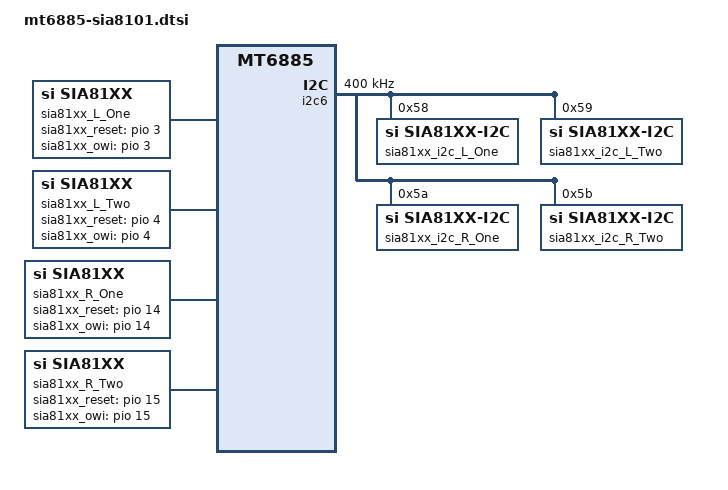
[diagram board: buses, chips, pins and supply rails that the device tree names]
/* Copyright (c) 2018, The Linux Foundation. All rights reserved.
 *
 * This program is free software; you can redistribute it and/or modify
 * it under the terms of the GNU General Public License version 2 and
 * only version 2 as published by the Free Software Foundation.
 *
 * This program is distributed in the hope that it will be useful,
 * but WITHOUT ANY WARRANTY; without even the implied warranty of
 * MERCHANTABILITY or FITNESS FOR A PARTICULAR PURPOSE.  See the
 * GNU General Public License for more details.
 */

&pio {
	sia81xx_gpio_L_ONE: sia81xx_gpio_L_ONE {
		pins_cmd_dat {
			pinmux = <PINMUX_GPIO3__FUNC_GPIO3>;
			
			slew-rate = <1>;
			bias-disable;
		};
	};
	
	sia81xx_gpio_L_TWO: sia81xx_gpio_L_TWO {
		pins_cmd_dat {
			pinmux = <PINMUX_GPIO4__FUNC_GPIO4>;
			
			slew-rate = <1>;
			bias-disable;
		};
	};
	
	sia81xx_gpio_R_ONE: sia81xx_gpio_R_ONE {
		pins_cmd_dat {
			pinmux = <PINMUX_GPIO14__FUNC_GPIO14>;
			
			slew-rate = <1>;
			bias-disable;
		};
	};

	sia81xx_gpio_R_TWO: sia81xx_gpio_R_TWO {
		pins_cmd_dat {
			pinmux = <PINMUX_GPIO15__FUNC_GPIO15>;
			
			slew-rate = <1>;
			bias-disable;
		};
	};	
};

/ {
	sia81xx_L_One: sia81xx@L_One {
		compatible = "si,sia81xx";
		si,sia81xx_type = "sia8101";
		si,sia81xx_reset = <&pio 3 0>;
		si,sia81xx_owi = <&pio 3 0>;
		pinctrl-names = "sia81xx_gpio";
		pinctrl-0 = <&sia81xx_gpio_L_ONE>;
		
		si,sia81xx_disable_pin = <0>;
		
		/* the same value share a same task
		 * valid value range : 0 ~ 7 */
		timer_task_hdl = <0>;
		
		channel_num = <0>;
		owi_mode = <6>;
		en_x_filter = <1>;
		en_dynamic_id = <0>;
		en_dynamic_updata_vdd = <0>;
		dynamic_updata_vdd_port = <0x2>;
	};
	
	sia81xx_L_Two: sia81xx@L_Two {
		compatible = "si,sia81xx";
		si,sia81xx_type = "sia8101";
		si,sia81xx_reset = <&pio 4 0>;
		si,sia81xx_owi = <&pio 4 0>;
		pinctrl-names = "sia81xx_gpio";
		pinctrl-0 = <&sia81xx_gpio_L_TWO>;
		
		si,sia81xx_disable_pin = <0>;
		
		/* the same value share a same task
		 * valid value range : 0 ~ 7 */
		timer_task_hdl = <0>;
		
		channel_num = <1>;
		owi_mode = <6>;
		en_x_filter = <1>;
		en_dynamic_id = <0>;
		en_dynamic_updata_vdd = <0>;
		dynamic_updata_vdd_port = <0x2>;
	};	
	
	sia81xx_R_One: sia81xx@R_One {
		compatible = "si,sia81xx";
		si,sia81xx_type = "sia8101";
		si,sia81xx_reset = <&pio 14 0>;
		si,sia81xx_owi = <&pio 14 0>;
		pinctrl-names = "sia81xx_gpio";
		pinctrl-0 = <&sia81xx_gpio_R_ONE>;
		
		si,sia81xx_disable_pin = <0>;
		
		/* the same value share a same task
		 * valid value range : 0 ~ 7 */
		timer_task_hdl = <0>;
		
		channel_num = <2>;
		owi_mode = <6>;
		en_x_filter = <0>;
		en_dynamic_id = <0>;
		en_dynamic_updata_vdd = <0>;
		dynamic_updata_vdd_port = <0x2>;
	};
	
	sia81xx_R_Two: sia81xx@R_Two {
		compatible = "si,sia81xx";
		si,sia81xx_type = "sia8101";
		si,sia81xx_reset = <&pio 15 0>;
		si,sia81xx_owi = <&pio 15 0>;
		pinctrl-names = "sia81xx_gpio";
		pinctrl-0 = <&sia81xx_gpio_R_TWO>;
		
		si,sia81xx_disable_pin = <0>;
		
		/* the same value share a same task
		 * valid value range : 0 ~ 7 */
		timer_task_hdl = <0>;
		
		channel_num = <3>;
		owi_mode = <6>;
		en_x_filter = <0>;
		en_dynamic_id = <0>;
		en_dynamic_updata_vdd = <0>;
		dynamic_updata_vdd_port = <0x2>;
	};	
};

&sound {
	si,sia81xx-max-num = <4>;
	si,sia81xx-aux-devs = <&sia81xx_L_One>, <&sia81xx_L_Two>, <&sia81xx_R_One>, <&sia81xx_R_Two>;
	si,sia81xx-aux-devs-prefix = "SpkrLeft_One", "SpkrLeft_Two", "SpkrRight_One", "SpkrRight_Two";
};

&i2c6 {
	#address-cells = <1>;
	#size-cells = <0>;
	clock-frequency = <400000>;
	mediatek,use-open-drain;
	
	sia81xx_i2c_L_One: sia81xx_i2c@L_One {
		compatible = "si,sia81xx-i2c";
		reg = <0x58>;
		si,sia81xx-dev = <&sia81xx_L_One>;
	};

	sia81xx_i2c_L_Two: sia81xx_i2c@L_Two {
		compatible = "si,sia81xx-i2c";
		reg = <0x59>;
		si,sia81xx-dev = <&sia81xx_L_Two>;
	};	
		
	sia81xx_i2c_R_One: sia81xx_i2c@R_One {
		compatible = "si,sia81xx-i2c";
		reg = <0x5a>;
		si,sia81xx-dev = <&sia81xx_R_One>;
	};
	
	sia81xx_i2c_R_Two: sia81xx_i2c@R_Two {
		compatible = "si,sia81xx-i2c";
		reg = <0x5b>;
		si,sia81xx-dev = <&sia81xx_R_Two>;
	};	
};



